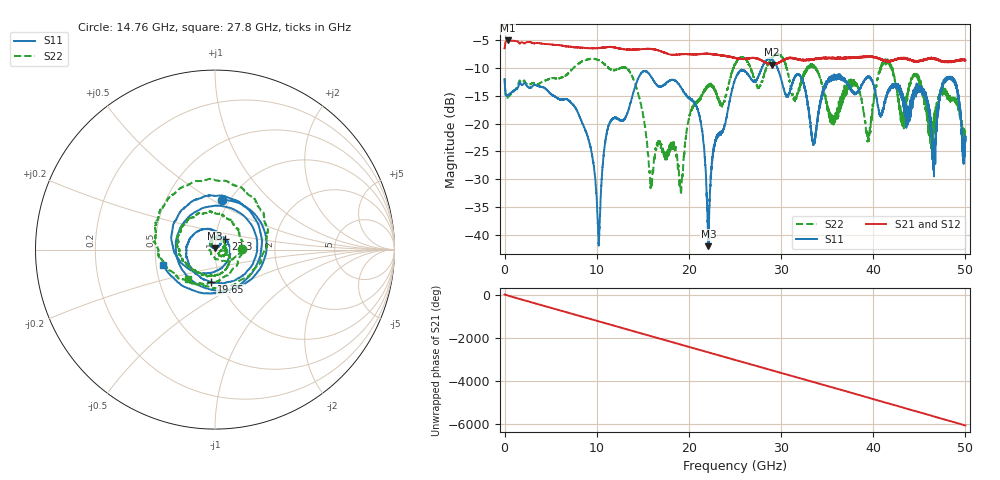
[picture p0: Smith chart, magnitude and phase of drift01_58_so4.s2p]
!Created with skrf (http://scikit-rf.org).
# Hz S RI R 50.0
!freq ReS11 ImS11 ReS21 ImS21 ReS12 ImS12 ReS22 ImS22
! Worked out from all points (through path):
!   10001 points, 300 kHz to 50 GHz, reference 50 ohm
!   highest |S21| = -5.05 dB at 315.3 MHz (marker M1); lowest = -9.4 dB at 28.97 GHz (marker M2)
!   group delay of S21, straight-line fit = 336 ps
!   lowest |S11| = -42.1 dB at 22.12 GHz (marker M3), VSWR 1.02, Z = 49.8 + j0.769 ohm
!   |S11| at or under -10 dB: start of sweep to 27.9 GHz; 29.6 GHz to end of sweep
!   |S22| runs from -32.8 to -7.5 dB; largest |S21 - S12| = 0.013
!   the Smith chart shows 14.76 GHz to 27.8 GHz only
!   S11 on the Smith chart (normalised r, x): 14.76 GHz: 0.92, +0.55; 19.65 GHz: 0.90, -0.34; 23.3 GHz: 1.11, +0.13; 27.8 GHz: 0.55, -0.10
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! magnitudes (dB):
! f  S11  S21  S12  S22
! 300 kHz  -12.1  -6.5  -6.6  -11.9
! 315.3 MHz  -15.0  -5.1  -5.1  -15.3
! 8.335 GHz  -19.5  -6.3  -6.3  -8.9
! 10.21 GHz  -41.5  -6.4  -6.4  -8.6
! 11.25 GHz  -20.6  -6.2  -6.2  -9.9
! 14.76 GHz  -11.1  -6.6  -6.6  -16.3
! 15.88 GHz  -11.6  -6.6  -6.6  -30.4
! 16.67 GHz  -13.3  -6.8  -6.8  -23.3
! 19.65 GHz  -14.8  -7.5  -7.5  -22.8
! 21.22 GHz  -19.2  -7.5  -7.5  -15.5
! 22.12 GHz  -42.1  -7.5  -7.5  -13.3
! 23.3 GHz  -21.9  -7.7  -7.7  -16.2
! 25 GHz  -12.1  -8.2  -8.2  -9.3
! 27.8 GHz  -10.5  -8.5  -8.6  -13.1
! 28.97 GHz  -8.4  -9.4  -9.4  -8.2
! 33.34 GHz  -22.4  -8.5  -8.4  -9.6
! 39.46 GHz  -11.5  -7.9  -7.9  -21.8
! 41.67 GHz  -13.9  -8.7  -8.7  -9.0
! 45.47 GHz  -14.3  -8.5  -8.5  -14.8
! 46.56 GHz  -28.4  -8.3  -8.3  -20.4
! 48.55 GHz  -11.6  -8.9  -8.9  -16.0
! 50 GHz  -22.9  -8.6  -8.6  -23.1
